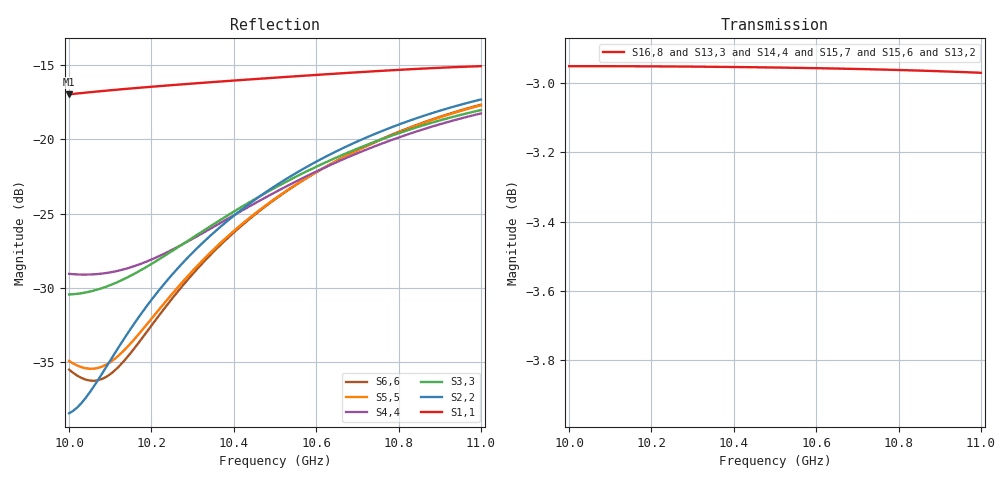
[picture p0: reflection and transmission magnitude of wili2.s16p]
! Created Wed Aug  5 18:45:44 2026
! List of port names and net name(s): example Port n = <port_name> <net_name1> <net_name2> ...
! Port 1 = P1 P1
! Port 2 = P2 P2
! Port 3 = P3 P3
! Port 4 = P4 P4
! Port 5 = P5 P5
! Port 6 = P6 P6
! Port 7 = P7 P7
! Port 8 = P8 P8
! Port 9 = P9 P9
! Port 10 = P10 P10 P11
! Port 11 = P12 P12 P13
! Port 12 = P14 P14 P15
! Port 13 = P16 P16 P17
! Port 14 = P18 P18 P19
! Port 15 = P20 P20 P21
! Port 16 = P22 P22 P23
[Version] 2.0
# ghz S ma R 50
! 16 Port Network Data from data block
[Number of Ports] 16
[Reference] 50 50 50 50 50 50 50 50
50 100 100 100 100 100 100 100
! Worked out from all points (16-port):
!   101 points, 10 GHz to 11 GHz, reference per port
!   strongest paths, dB at 10 GHz, 10.25 GHz, 10.5 GHz, 10.75 GHz, 11 GHz:
!     S16,8: -3.0, -3.0, -3.0, -3.0, -3.0
!     S13,3: -3.0, -3.0, -3.0, -3.0, -3.0
!     S14,4: -3.0, -3.0, -3.0, -3.0, -3.0
!     S15,7: -3.0, -3.0, -3.0, -3.0, -3.0
!     S15,6: -3.1, -3.1, -3.1, -3.1, -3.2
!     S13,2: -3.1, -3.1, -3.1, -3.1, -3.2
!   lowest |S11| = -17.0 dB at 10 GHz (marker M1), VSWR 1.33
!   |S11| at or under -10 dB: start of sweep to end of sweep
